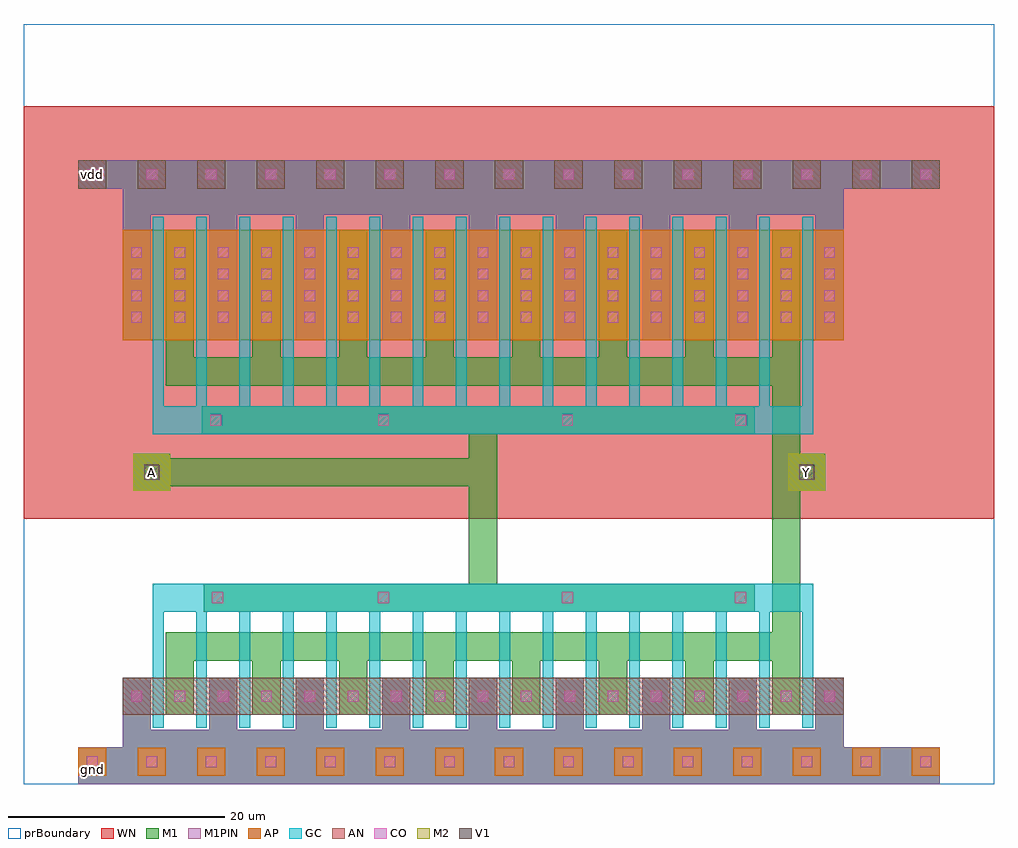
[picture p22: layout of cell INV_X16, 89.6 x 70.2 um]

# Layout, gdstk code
import gdstk
lib = gdstk.Library(unit=1e-6, precision=1e-09)
def R(c, l, rs):  # rectangles x0, y0, x1, y1
    for r in rs: c.add(gdstk.rectangle(r[:2], r[2:], *l))
def A(c, l, x, y, w, h, nx, ny, dx, dy):  # array of equal rectangles
    R(c, l, [(x+i*dx, y+j*dy, x+i*dx+w, y+j*dy+h) for i in range(nx) for j in range(ny)])
def P(c, l, *ps):  # polygons
    for p in ps: c.add(gdstk.Polygon(p, *l))
AP = (3, 1)
AN = (3, 2)
GC = (8, 1)
CO = (11, 0)
M1 = (13, 0)
V1 = (19, 0)
M2 = (20, 0)
M1PIN = (48, 1)
WN = (140, 0)
prBoundary = (235, 4)

inv_x16 = lib.new_cell('INV_X16')
A(inv_x16, AP, 5, 0.75, 2.6, 2.6, 15, 1, 5.5, 0)
R(inv_x16, AP, [(9.1,41,75.7,51.2)])
A(inv_x16, AN, 5, 55, 2.6, 2.6, 15, 1, 5.5, 0)
R(inv_x16, AN, [(9.1,6.4,75.7,9.8)])
P(inv_x16, GC, [(11.9,5.2),(11.9,18.5),(72.9,18.5),(72.9,5.2),(71.9,5.2),(71.9,15.9),(68.9,15.9),(68.9,5.2),(67.9,5.2),(67.9,15.9),(64.9,15.9),(64.9,5.2),(63.9,5.2),(63.9,15.9),(60.9,15.9),(60.9,5.2),(59.9,5.2),(59.9,15.9),(56.9,15.9),(56.9,5.2),(55.9,5.2),(55.9,15.9),(52.9,15.9),(52.9,5.2),(51.9,5.2),(51.9,15.9),(48.9,15.9),(48.9,5.2),(47.9,5.2),(47.9,15.9),(44.9,15.9),(44.9,5.2),(43.9,5.2),(43.9,15.9),(40.9,15.9),(40.9,5.2),(39.9,5.2),(39.9,15.9),(36.9,15.9),(36.9,5.2),(35.9,5.2),(35.9,15.9),(32.9,15.9),(32.9,5.2),(31.9,5.2),(31.9,15.9),(28.9,15.9),(28.9,5.2),(27.9,5.2),(27.9,15.9),(24.9,15.9),(24.9,5.2),(23.9,5.2),(23.9,15.9),(20.9,15.9),(20.9,5.2),(19.9,5.2),(19.9,15.9),(16.9,15.9),(16.9,5.2),(15.9,5.2),(15.9,15.9),(12.9,15.9),(12.9,5.2)],
  [(11.9,32.3),(11.9,52.4),(12.9,52.4),(12.9,34.9),(15.9,34.9),(15.9,52.4),(16.9,52.4),(16.9,34.9),(19.9,34.9),(19.9,52.4),(20.9,52.4),(20.9,34.9),(23.9,34.9),(23.9,52.4),(24.9,52.4),(24.9,34.9),(27.9,34.9),(27.9,52.4),(28.9,52.4),(28.9,34.9),(31.9,34.9),(31.9,52.4),(32.9,52.4),(32.9,34.9),(35.9,34.9),(35.9,52.4),(36.9,52.4),(36.9,34.9),(39.9,34.9),(39.9,52.4),(40.9,52.4),(40.9,34.9),(43.9,34.9),(43.9,52.4),(44.9,52.4),(44.9,34.9),(47.9,34.9),(47.9,52.4),(48.9,52.4),(48.9,34.9),(51.9,34.9),(51.9,52.4),(52.9,52.4),(52.9,34.9),(55.9,34.9),(55.9,52.4),(56.9,52.4),(56.9,34.9),(59.9,34.9),(59.9,52.4),(60.9,52.4),(60.9,34.9),(63.9,34.9),(63.9,52.4),(64.9,52.4),(64.9,34.9),(67.9,34.9),(67.9,52.4),(68.9,52.4),(68.9,34.9),(71.9,34.9),(71.9,52.4),(72.9,52.4),(72.9,32.3)])
A(inv_x16, CO, 5.8, 1.55, 1, 1, 15, 2, 5.5, 54.25)
A(inv_x16, CO, 9.9, 7.6, 1, 1, 17, 2, 4, 35)
A(inv_x16, CO, 9.9, 44.6, 1, 1, 17, 3, 4, 2)
R(inv_x16, CO, [(17.4,16.7,18.4,17.7), (32.7,16.7,33.7,17.7), (49.7,16.7,50.7,17.7), (65.7,16.7,66.7,17.7), (17.2,33.1,18.2,34.1), (32.7,33.1,33.7,34.1), (49.7,33.1,50.7,34.1), (65.7,33.1,66.7,34.1)])
R(inv_x16, M1, [(5,2.6,9.1,3.4), (75.7,2.6,84.6,3.4)])
P(inv_x16, M1, [(5,0),(5,2.6),(9.1,2.6),(9.1,9.8),(11.7,9.8),(11.7,5),(17.1,5),(17.1,9.8),(19.7,9.8),(19.7,5),(25.1,5),(25.1,9.8),(27.7,9.8),(27.7,5),(33.1,5),(33.1,9.8),(35.7,9.8),(35.7,5),(41.1,5),(41.1,9.8),(43.7,9.8),(43.7,5),(49.1,5),(49.1,9.8),(51.7,9.8),(51.7,5),(57.1,5),(57.1,9.8),(59.7,9.8),(59.7,5),(65.1,5),(65.1,9.8),(67.7,9.8),(67.7,5),(73.1,5),(73.1,9.8),(75.7,9.8),(75.7,2.6),(84.6,2.6),(84.6,0)],
  [(16.6,15.9),(16.6,18.5),(41.1,18.5),(41.1,27.5),(13.5,27.5),(13.5,27.1),(10.1,27.1),(10.1,30.5),(13.5,30.5),(13.5,30.1),(41.1,30.1),(41.1,32.3),(16.4,32.3),(16.4,34.9),(67.5,34.9),(67.5,32.3),(43.7,32.3),(43.7,18.5),(67.5,18.5),(67.5,15.9)],
  [(13.1,6.4),(13.1,14),(69.1,14),(69.1,36.8),(13.1,36.8),(13.1,51.2),(15.7,51.2),(15.7,39.4),(21.1,39.4),(21.1,51.2),(23.7,51.2),(23.7,39.4),(29.1,39.4),(29.1,51.2),(31.7,51.2),(31.7,39.4),(37.1,39.4),(37.1,51.2),(39.7,51.2),(39.7,39.4),(45.1,39.4),(45.1,51.2),(47.7,51.2),(47.7,39.4),(53.1,39.4),(53.1,51.2),(55.7,51.2),(55.7,39.4),(61.1,39.4),(61.1,51.2),(63.7,51.2),(63.7,39.4),(69.1,39.4),(69.1,51.2),(71.7,51.2),(71.7,30.5),(74,30.5),(74,27.1),(71.7,27.1),(71.7,6.4),(69.1,6.4),(69.1,11.4),(63.7,11.4),(63.7,6.4),(61.1,6.4),(61.1,11.4),(55.7,11.4),(55.7,6.4),(53.1,6.4),(53.1,11.4),(47.7,11.4),(47.7,6.4),(45.1,6.4),(45.1,11.4),(39.7,11.4),(39.7,6.4),(37.1,6.4),(37.1,11.4),(31.7,11.4),(31.7,6.4),(29.1,6.4),(29.1,11.4),(23.7,11.4),(23.7,6.4),(21.1,6.4),(21.1,11.4),(15.7,11.4),(15.7,6.4)],
  [(9.1,41),(9.1,55),(5,55),(5,57.6),(84.6,57.6),(84.6,55),(75.7,55),(75.7,41),(73.1,41),(73.1,52.6),(67.7,52.6),(67.7,41),(65.1,41),(65.1,52.6),(59.7,52.6),(59.7,41),(57.1,41),(57.1,52.6),(51.7,52.6),(51.7,41),(49.1,41),(49.1,52.6),(43.7,52.6),(43.7,41),(41.1,41),(41.1,52.6),(35.7,52.6),(35.7,41),(33.1,41),(33.1,52.6),(27.7,52.6),(27.7,41),(25.1,41),(25.1,52.6),(19.7,52.6),(19.7,41),(17.1,41),(17.1,52.6),(11.7,52.6),(11.7,41)])
R(inv_x16, V1, [(11.1,28.1,12.5,29.5), (71.6,28.1,73,29.5)])
R(inv_x16, M2, [(10.1,27.1,13.5,30.5), (70.6,27.1,74,30.5)])
A(inv_x16, M1PIN, 9.1, 5, 2.6, 4.8, 9, 1, 8, 0)
A(inv_x16, M1PIN, 9.1, 41, 2.6, 11.6, 9, 1, 8, 0)
R(inv_x16, M1PIN, [(5,0,84.6,3.4), (9.1,3.4,75.7,5), (9.1,52.6,75.7,55), (5,55,84.6,57.6)])
R(inv_x16, WN, [(0,24.5,89.6,62.6)])
R(inv_x16, prBoundary, [(0,0,89.6,70.2)])
inv_x16.add(gdstk.Label('A', (11.8,28.8), layer=49, texttype=0))
inv_x16.add(gdstk.Label('Y', (72.3,28.8), layer=49, texttype=0))
inv_x16.add(gdstk.Label('Y', (72.3,28.8), layer=48, texttype=0))
inv_x16.add(gdstk.Label('A', (11.8,28.8), layer=48, texttype=0))
inv_x16.add(gdstk.Label('vdd', (6.3,56.3), layer=48, texttype=0))
inv_x16.add(gdstk.Label('gnd', (6.3,1.3), layer=48, texttype=0))

lib.write_gds('INV_X16.gds')
